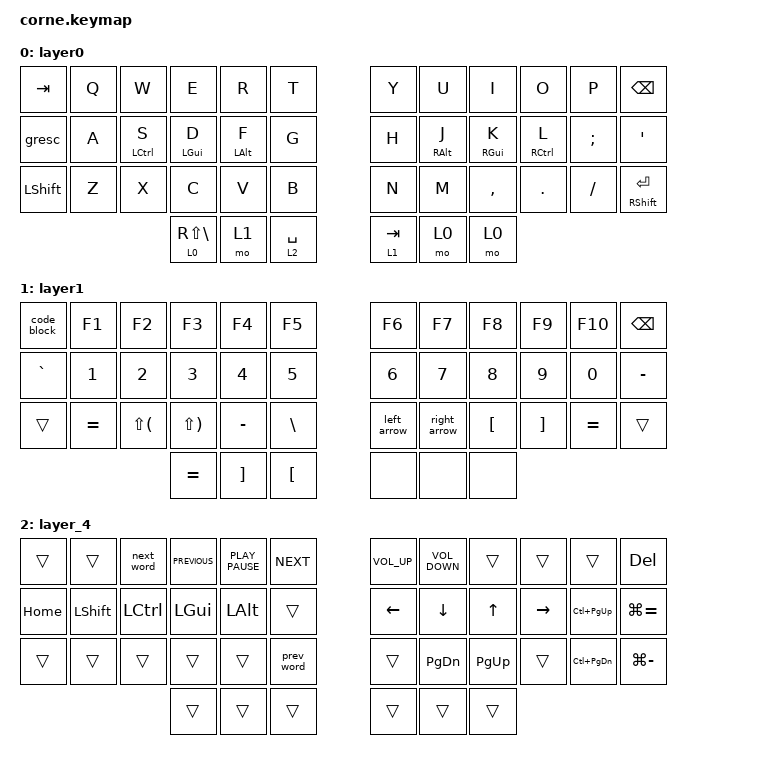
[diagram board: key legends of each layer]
/*
  * Copyright (c) 2020 The ZMK Contributors
  *
  * SPDX-License-Identifier: MIT
  */

#include <behaviors.dtsi>
#include <dt-bindings/zmk/keys.h>

/ {
    macros {
        code_block: code_block {
            compatible = "zmk,behavior-macro";
            #binding-cells = <0>;
            bindings = <&kp GRAVE &kp GRAVE &kp GRAVE &kp LS(ENTER) &kp LS(RET) &kp GRAVE &kp GRAVE &kp GRAVE &kp UP_ARROW>;
            label = "CODE_BLOCK";
        };

        left_arrow: left_arrow {
            compatible = "zmk,behavior-macro";
            #binding-cells = <0>;
            bindings = <&kp LT &kp MINUS>;
            label = "LEFT_ARROW";
        };

        right_arrow: right_arrow {
            compatible = "zmk,behavior-macro";
            #binding-cells = <0>;
            bindings = <&kp MINUS &kp GT>;
            label = "RIGHT_ARROW";
        };

        screenshot: screenshot {
            compatible = "zmk,behavior-macro";
            #binding-cells = <0>;
            bindings = <&kp LS(LG(NUMBER_4))>;
            label = "SCREENSHOT";
        };

        left_desk: left_desk {
            compatible = "zmk,behavior-macro";
            #binding-cells = <0>;
            bindings = <&kp LC(LEFT)>;
            label = "LEFT_DESK";
        };

        right_desk: right_desk {
            compatible = "zmk,behavior-macro";
            #binding-cells = <0>;
            bindings = <&kp LC(RIGHT)>;
            label = "RIGHT_DESK";
        };

        up_desk: up_desk {
            compatible = "zmk,behavior-macro";
            #binding-cells = <0>;
            bindings = <&kp LC(UP_ARROW)>;
            label = "UP_DESK";
        };

        down_desk: down_desk {
            compatible = "zmk,behavior-macro";
            #binding-cells = <0>;
            bindings = <&kp LC(DOWN)>;
            label = "DOWN_DESK";
        };

        prev_word: prev_word {
            compatible = "zmk,behavior-macro";
            #binding-cells = <0>;
            bindings = <&kp LA(LEFT)>;
            label = "PREV_WORD";
        };

        next_word: next_word {
            compatible = "zmk,behavior-macro";
            #binding-cells = <0>;
            bindings = <&kp LA(RIGHT)>;
            label = "NEXT_WORD";
        };
    };

    keymap {
        compatible = "zmk,keymap";

        layer0 {
            bindings = <
&kp TAB         &kp Q  &kp W               &kp E                &kp R           &kp T          &kp Y      &kp U       &kp I            &kp O        &kp P          &kp BACKSPACE
&gresc          &kp A  &mt LEFT_CONTROL S  &mt LGUI D           &mt LEFT_ALT F  &kp G          &kp H      &mt RALT J  &mt RIGHT_GUI K  &mt RCTRL L  &kp SEMICOLON  &kp SQT
&kp LEFT_SHIFT  &kp Z  &kp X               &kp C                &kp V           &kp B          &kp N      &kp M       &kp COMMA        &kp PERIOD   &kp SLASH      &mt RSHFT ENTER
                                           &lt 0 RS(BACKSLASH)  &mo 1           &lt 2 SPACE    &lt 1 TAB  &mo 0       &mo 0
            >;
        };

        layer1 {
            bindings = <
&code_block  &kp F1     &kp F2        &kp F3        &kp F4             &kp F5              &kp F6       &kp F7        &kp F8    &kp F9    &kp F10    &kp BSPC
&kp GRAVE    &kp N1     &kp N2        &kp N3        &kp N4             &kp N5              &kp N6       &kp N7        &kp N8    &kp N9    &kp N0     &kp MINUS
&trans       &kp EQUAL  &kp LS(LPAR)  &kp LS(RPAR)  &kp MINUS          &kp BSLH            &left_arrow  &right_arrow  &kp LBKT  &kp RBKT  &kp EQUAL  &trans
                                      &kp EQUAL     &kp RIGHT_BRACKET  &kp LEFT_BRACKET    &none        &none         &none
            >;
        };

        layer_4 {
            bindings = <
&trans    &trans     &next_word  &kp C_PREVIOUS  &kp K_PLAY_PAUSE  &kp C_NEXT    &kp C_VOLUME_UP  &kp K_VOLUME_DOWN  &trans     &trans     &trans         &kp DELETE
&kp HOME  &kp LSHFT  &kp LCTRL   &kp LGUI        &kp LALT          &trans        &kp LEFT         &kp DOWN           &kp UP     &kp RIGHT  &kp LC(PG_UP)  &kp LG(EQUAL)
&trans    &trans     &trans      &trans          &trans            &prev_word    &trans           &kp PG_DN          &kp PG_UP  &trans     &kp LC(PG_DN)  &kp LG(MINUS)
                                 &trans          &trans            &trans        &trans           &trans             &trans
            >;
        };
    };
};
